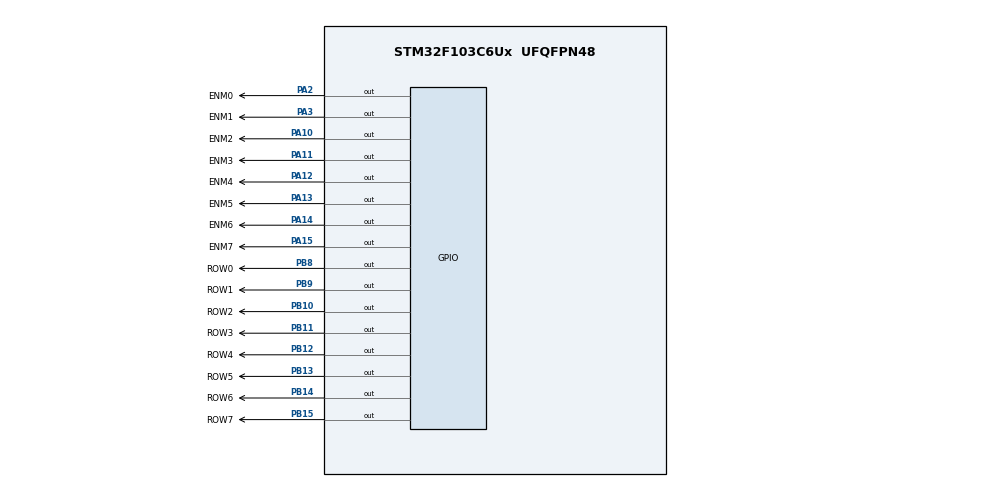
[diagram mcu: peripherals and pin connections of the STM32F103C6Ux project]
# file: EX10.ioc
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Mcu.Family=STM32F1
Mcu.Name=STM32F103C6Ux
Mcu.Package=UFQFPN48
NVIC.PriorityGroup=NVIC_PRIORITYGROUP_4
NVIC.TIM2_IRQn=true\:0\:0\:false\:false\:true\:true\:true
PA10.GPIO_Label=ENM2
PA10.Signal=GPIO_Output
PA11.GPIO_Label=ENM3
PA11.Signal=GPIO_Output
PA12.GPIO_Label=ENM4
PA12.Signal=GPIO_Output
PA13.GPIO_Label=ENM5
PA13.Signal=GPIO_Output
PA14.GPIO_Label=ENM6
PA14.Signal=GPIO_Output
PA15.GPIO_Label=ENM7
PA15.Signal=GPIO_Output
PA2.GPIO_Label=ENM0
PA2.Signal=GPIO_Output
PA3.GPIO_Label=ENM1
PA3.Signal=GPIO_Output
PB10.GPIO_Label=ROW2
PB10.Signal=GPIO_Output
PB11.GPIO_Label=ROW3
PB11.Signal=GPIO_Output
PB12.GPIO_Label=ROW4
PB12.Signal=GPIO_Output
PB13.GPIO_Label=ROW5
PB13.Signal=GPIO_Output
PB14.GPIO_Label=ROW6
PB14.Signal=GPIO_Output
PB15.GPIO_Label=ROW7
PB15.Signal=GPIO_Output
PB8.GPIO_Label=ROW0
PB8.Signal=GPIO_Output
PB9.GPIO_Label=ROW1
PB9.Signal=GPIO_Output
ProjectManager.HeapSize=0x200
ProjectManager.StackSize=0x400
ProjectManager.TargetToolchain=STM32CubeIDE
RCC.APB1Freq_Value=8000000
RCC.APB2Freq_Value=8000000
TIM2.Period=9
TIM2.Prescaler=7999
VP_SYS_VS_ND.Mode=No_Debug
VP_TIM2_VS_ClockSourceINT.Mode=Internal
board=custom

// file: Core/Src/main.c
/* USER CODE BEGIN Header */
/**
  ******************************************************************************
  * @file           : main.c
  * @brief          : Main program body
  ******************************************************************************
  * @attention
  *
  * <h2><center>&copy; Copyright (c) 2022 STMicroelectronics.
  * All rights reserved.</center></h2>
  *
  * This software component is licensed by ST under BSD 3-Clause license,
  * the "License"; You may not use this file except in compliance with the
  * License. You may obtain a copy of the License at:
  *                        opensource.org/licenses/BSD-3-Clause
  *
  ******************************************************************************
  */
/* USER CODE END Header */
#include "main.h"

TIM_HandleTypeDef htim2;

void SystemClock_Config(void);
static void MX_GPIO_Init(void);
static void MX_TIM2_Init(void);

/* USER CODE BEGIN 0 */
int timer0_counter=0;
int timer0_flag=0;
int timer_cycle=10;
void setTimer0(int duration){
	timer0_counter=duration/timer_cycle;
	timer0_flag=0;
}
//setTimer1
int timer1_counter=0;
int timer1_flag=0;
void setTimer1(int duration){
	timer1_counter=duration/timer_cycle;
	timer1_flag=0;
}
void timer_run(){
	if(timer0_counter>0){
		timer0_counter--;
		if(timer0_counter<=0){
			timer0_flag=1;
		}
	}
	if(timer1_counter>0){
		timer1_counter--;
		if(timer1_counter<=0){
			timer1_flag=1;
		}
	}
}
/* USER CODE END 0 */

int main(void)
{

  /* MCU Configuration--------------------------------------------------------*/

  /* Reset of all peripherals, Initializes the Flash interface and the Systick. */
  HAL_Init();

  /* Configure the system clock */
  SystemClock_Config();

  /* Initialize all configured peripherals */
  MX_GPIO_Init();
  MX_TIM2_Init();
  /* USER CODE BEGIN 2 */
  HAL_TIM_Base_Start_IT (& htim2 ) ;
  /* USER CODE END 2 */

  /* Infinite loop */
  /* USER CODE BEGIN WHILE */
  int index_led_matrix=0;
  //bien giup dieu khien ki tu "A" chuyen dong theo chieu ngang
  int animation=0;
  //vi tri cac den led sang trong cac cot
  uint16_t matrix_buffer[8]={0x03ff,0x01ff,0x00ff,0xccff,0xccff,0x00ff,0x01ff,0x03ff};
  void animationLEDMatrix(int index,int animation){
	  switch(index){
	  case 0://col1
		  GPIOA->ODR=0xfffb;
		  if(0-animation>=0) GPIOB->ODR=matrix_buffer[0-animation];
		  if(0-animation<0) GPIOB->ODR=0xffff;
		  break;
	  case 1://col2
		  GPIOA->ODR=0xfff7;
		  if(1-animation>=0) GPIOB->ODR=matrix_buffer[1-animation];
		  if(1-animation<0) GPIOB->ODR=0xffff;
		  break;
	  case 2://col3
		  GPIOA->ODR=0xfbff;
		  if(2-animation>=0) GPIOB->ODR=matrix_buffer[2-animation];
		  if(2-animation<0) GPIOB->ODR=0xffff;
		  break;
	  case 3://col4
		  GPIOA->ODR=0xf7ff;
		  if(3-animation>=0) GPIOB->ODR=matrix_buffer[3-animation];
		  if(3-animation<0) GPIOB->ODR=0xffff;
		  break;
	  case 4://col5
		  GPIOA->ODR=0xefff;
		  if(4-animation>=0) GPIOB->ODR=matrix_buffer[4-animation];
		  if(4-animation<0) GPIOB->ODR=0xffff;
		  break;
	  case 5://col6
		  GPIOA->ODR=0xdfff;
		  if(5-animation>=0) GPIOB->ODR=matrix_buffer[5-animation];
		  if(5-animation<0) GPIOB->ODR=0xffff;
		  break;
	  case 6://col7
		  GPIOA->ODR=0xbfff;
		  if(6-animation>=0) GPIOB->ODR=matrix_buffer[6-animation];
		  if(6-animation<0) GPIOB->ODR=0xffff;
		  break;
	  case 7://col8
		  GPIOA->ODR=0x7fff;
		  if(7-animation>=0) GPIOB->ODR=matrix_buffer[7-animation];
		  if(7-animation<0) GPIOB->ODR=0xffff;
		  break;
	  default:
		  GPIOA->ODR=0xffff;
		  break;
	  }
  }
  GPIOA->ODR=0xffff;
  GPIOB->ODR=0xffff;
  setTimer0(10);
  while (1)
  {
    if(timer0_flag==1){
    	setTimer0(10);
    	animationLEDMatrix(index_led_matrix,animation);
    	index_led_matrix++;
    	if(index_led_matrix>=8){
    		index_led_matrix=0;
    		animation++;
    		if(animation>=8) animation=0;
    	}
    }
  }
  /* USER CODE END 3 */
}

void SystemClock_Config(void)
{
  RCC_OscInitTypeDef RCC_OscInitStruct = {0};
  RCC_ClkInitTypeDef RCC_ClkInitStruct = {0};

  /** Initializes the RCC Oscillators according to the specified parameters
  * in the RCC_OscInitTypeDef structure.
  */
  RCC_OscInitStruct.OscillatorType = RCC_OSCILLATORTYPE_HSI;
  RCC_OscInitStruct.HSIState = RCC_HSI_ON;
  RCC_OscInitStruct.HSICalibrationValue = RCC_HSICALIBRATION_DEFAULT;
  RCC_OscInitStruct.PLL.PLLState = RCC_PLL_NONE;
  if (HAL_RCC_OscConfig(&RCC_OscInitStruct) != HAL_OK)
  {
    Error_Handler();
  }
  /** Initializes the CPU, AHB and APB buses clocks
  */
  RCC_ClkInitStruct.ClockType = RCC_CLOCKTYPE_HCLK|RCC_CLOCKTYPE_SYSCLK
                              |RCC_CLOCKTYPE_PCLK1|RCC_CLOCKTYPE_PCLK2;
  RCC_ClkInitStruct.SYSCLKSource = RCC_SYSCLKSOURCE_HSI;
  RCC_ClkInitStruct.AHBCLKDivider = RCC_SYSCLK_DIV1;
  RCC_ClkInitStruct.APB1CLKDivider = RCC_HCLK_DIV1;
  RCC_ClkInitStruct.APB2CLKDivider = RCC_HCLK_DIV1;

  if (HAL_RCC_ClockConfig(&RCC_ClkInitStruct, FLASH_LATENCY_0) != HAL_OK)
  {
    Error_Handler();
  }
}

static void MX_TIM2_Init(void)
{

  TIM_ClockConfigTypeDef sClockSourceConfig = {0};
  TIM_MasterConfigTypeDef sMasterConfig = {0};

  htim2.Instance = TIM2;
  htim2.Init.Prescaler = 7999;
  htim2.Init.CounterMode = TIM_COUNTERMODE_UP;
  htim2.Init.Period = 9;
  htim2.Init.ClockDivision = TIM_CLOCKDIVISION_DIV1;
  htim2.Init.AutoReloadPreload = TIM_AUTORELOAD_PRELOAD_DISABLE;
  if (HAL_TIM_Base_Init(&htim2) != HAL_OK)
  {
    Error_Handler();
  }
  sClockSourceConfig.ClockSource = TIM_CLOCKSOURCE_INTERNAL;
  if (HAL_TIM_ConfigClockSource(&htim2, &sClockSourceConfig) != HAL_OK)
  {
    Error_Handler();
  }
  sMasterConfig.MasterOutputTrigger = TIM_TRGO_RESET;
  sMasterConfig.MasterSlaveMode = TIM_MASTERSLAVEMODE_DISABLE;
  if (HAL_TIMEx_MasterConfigSynchronization(&htim2, &sMasterConfig) != HAL_OK)
  {
    Error_Handler();
  }

}

static void MX_GPIO_Init(void)
{
  GPIO_InitTypeDef GPIO_InitStruct = {0};

  /* GPIO Ports Clock Enable */
  __HAL_RCC_GPIOA_CLK_ENABLE();
  __HAL_RCC_GPIOB_CLK_ENABLE();

  /*Configure GPIO pin Output Level */
  HAL_GPIO_WritePin(GPIOA, ENM0_Pin|ENM1_Pin|ENM2_Pin|ENM3_Pin
                          |ENM4_Pin|ENM5_Pin|ENM6_Pin|ENM7_Pin, GPIO_PIN_RESET);

  /*Configure GPIO pin Output Level */
  HAL_GPIO_WritePin(GPIOB, ROW2_Pin|ROW3_Pin|ROW4_Pin|ROW5_Pin
                          |ROW6_Pin|ROW7_Pin|ROW0_Pin|ROW1_Pin, GPIO_PIN_RESET);

  /*Configure GPIO pins : ENM0_Pin ENM1_Pin ENM2_Pin ENM3_Pin
                           ENM4_Pin ENM5_Pin ENM6_Pin ENM7_Pin */
  GPIO_InitStruct.Pin = ENM0_Pin|ENM1_Pin|ENM2_Pin|ENM3_Pin
                          |ENM4_Pin|ENM5_Pin|ENM6_Pin|ENM7_Pin;
  GPIO_InitStruct.Mode = GPIO_MODE_OUTPUT_PP;
  GPIO_InitStruct.Pull = GPIO_NOPULL;
  GPIO_InitStruct.Speed = GPIO_SPEED_FREQ_LOW;
  HAL_GPIO_Init(GPIOA, &GPIO_InitStruct);

  /*Configure GPIO pins : ROW2_Pin ROW3_Pin ROW4_Pin ROW5_Pin
                           ROW6_Pin ROW7_Pin ROW0_Pin ROW1_Pin */
  GPIO_InitStruct.Pin = ROW2_Pin|ROW3_Pin|ROW4_Pin|ROW5_Pin
                          |ROW6_Pin|ROW7_Pin|ROW0_Pin|ROW1_Pin;
  GPIO_InitStruct.Mode = GPIO_MODE_OUTPUT_PP;
  GPIO_InitStruct.Pull = GPIO_NOPULL;
  GPIO_InitStruct.Speed = GPIO_SPEED_FREQ_LOW;
  HAL_GPIO_Init(GPIOB, &GPIO_InitStruct);

}

/* USER CODE BEGIN 4 */
void HAL_TIM_PeriodElapsedCallback ( TIM_HandleTypeDef * htim ){
	timer_run();
}
/* USER CODE END 4 */

void Error_Handler(void)
{
  __disable_irq();
  while (1)
  {
  }
}

/************************ (C) COPYRIGHT STMicroelectronics *****END OF FILE****/
